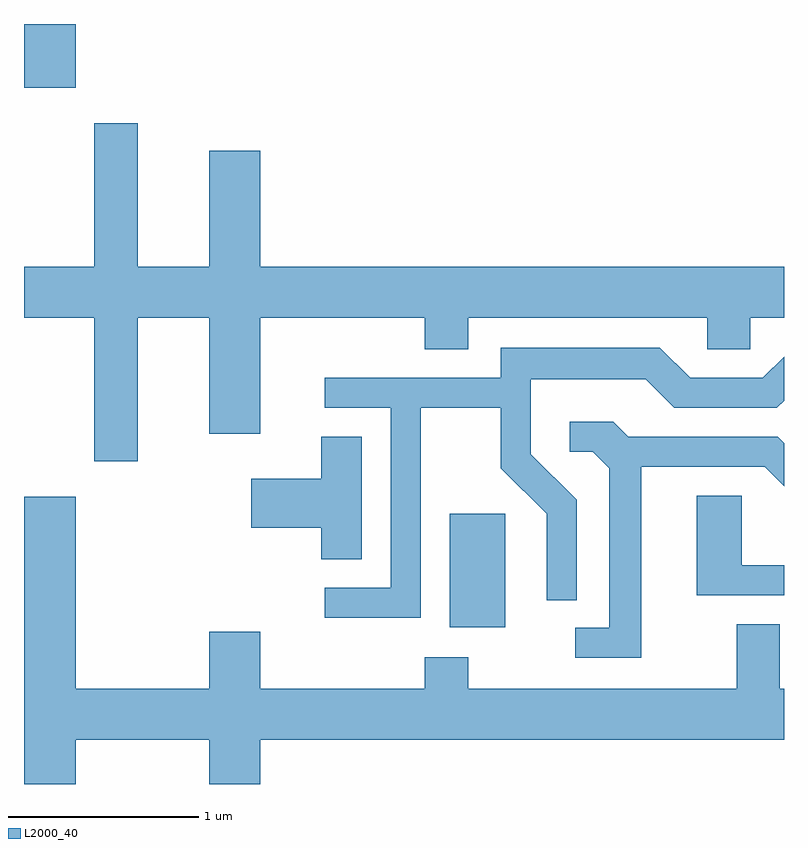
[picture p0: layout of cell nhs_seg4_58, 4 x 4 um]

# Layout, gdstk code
import gdstk
lib = gdstk.Library(unit=1e-6, precision=1e-09)
def R(c, l, rs):  # rectangles x0, y0, x1, y1
    for r in rs: c.add(gdstk.rectangle(r[:2], r[2:], *l))
def P(c, l, *ps):  # polygons
    for p in ps: c.add(gdstk.Polygon(p, *l))
L2000_40 = (2000, 40)

nhs_seg4_58 = lib.new_cell('nhs_seg4_58')
R(nhs_seg4_58, L2000_40, [(187.851,1370.806,188.144,1371.404), (185.611,1373.646,185.884,1373.982)])
P(nhs_seg4_58, L2000_40, [(186.209,1372.436),(186.586,1372.436),(186.586,1371.826),(186.854,1371.826),(186.854,1372.436),(187.721,1372.436),(187.721,1372.271),(187.949,1372.271),(187.949,1372.436),(189.206,1372.436),(189.206,1372.271),(189.434,1372.271),(189.434,1372.436),(189.611,1372.436),(189.611,1372.704),(186.854,1372.704),(186.854,1373.314),(186.586,1373.314),(186.586,1372.704),(186.209,1372.704),(186.209,1373.459),(185.981,1373.459),(185.981,1372.704),(185.611,1372.704),(185.611,1372.436),(185.981,1372.436),(185.981,1371.681),(186.209,1371.681)],
  [(187.699,1371.961),(188.121,1371.961),(188.121,1371.644),(188.361,1371.404),(188.361,1370.948),(188.519,1370.948),(188.519,1371.477),(188.279,1371.717),(188.279,1372.111),(188.884,1372.111),(189.034,1371.961),(189.572,1371.961),(189.611,1372),(189.611,1372.231),(189.499,1372.119),(189.117,1372.119),(188.957,1372.279),(188.121,1372.279),(188.121,1372.119),(187.193,1372.119),(187.193,1371.961),(187.541,1371.961),(187.541,1371.014),(187.193,1371.014),(187.193,1370.856),(187.699,1370.856)],
  [(188.859,1371.651),(189.509,1371.651),(189.611,1371.549),(189.611,1371.775),(189.577,1371.809),(188.792,1371.809),(188.712,1371.889),(188.483,1371.889),(188.483,1371.731),(188.604,1371.731),(188.691,1371.644),(188.691,1370.804),(188.513,1370.804),(188.513,1370.646),(188.859,1370.646)],
  [(187.389,1371.809),(187.176,1371.809),(187.176,1371.589),(186.806,1371.589),(186.806,1371.331),(187.176,1371.331),(187.176,1371.166),(187.389,1371.166)],
  [(189.611,1371.134),(189.389,1371.134),(189.389,1371.499),(189.151,1371.499),(189.151,1370.976),(189.611,1370.976)],
  [(185.884,1370.216),(186.586,1370.216),(186.586,1369.982),(186.854,1369.982),(186.854,1370.216),(189.611,1370.216),(189.611,1370.484),(189.589,1370.484),(189.589,1370.824),(189.361,1370.824),(189.361,1370.484),(187.949,1370.484),(187.949,1370.649),(187.721,1370.649),(187.721,1370.484),(186.854,1370.484),(186.854,1370.784),(186.586,1370.784),(186.586,1370.484),(185.884,1370.484),(185.884,1371.494),(185.611,1371.494),(185.611,1369.982),(185.884,1369.982)])

lib.write_gds('nhs_seg4_58.gds')
